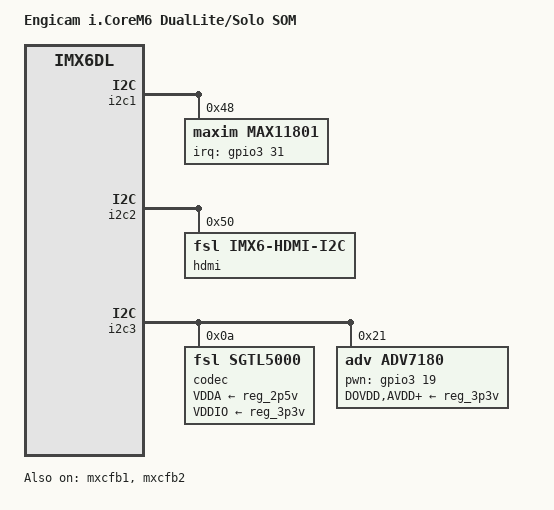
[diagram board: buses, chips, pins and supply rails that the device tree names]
/*
 * Copyright (C) 2013 Freescale Semiconductor, Inc.
 *
 * This program is free software; you can redistribute it and/or modify
 * it under the terms of the GNU General Public License version 2 as
 * published by the Free Software Foundation.
 */

/dts-v1/;

#include "imx6dl.dtsi"
#include "imx6qdl-icore.dtsi"

/ {
	model = "Engicam i.CoreM6 DualLite/Solo SOM";
	compatible = "fsl,imx6-icore", "fsl,imx6dl";
};

&ldb {
	ipu_id = <0>;
	sec_ipu_id = <0>;
};

&mxcfb1 {
	status = "okay";
};

&mxcfb2 {
	status = "okay";
};

&i2c1 {

	max11801@48 {
		compatible = "maxim,max11801";
		reg = <0x48>;
		interrupt-parent = <&gpio3>;
		interrupts = <31 2>;
		work-mode = <0>;/*DCM mode*/
	};

};

&i2c2 {

	hdmi: edid@50 {
		compatible = "fsl,imx6-hdmi-i2c";
		reg = <0x50>;
	};

};


&i2c3 {

	codec: sgtl5000@0a {
		compatible = "fsl,sgtl5000";
		reg = <0x0a>;
		clocks = <&clks 201>;
		VDDA-supply = <&reg_2p5v>;
		VDDIO-supply = <&reg_3p3v>;
	};


	adv7180: adv7180@21 {
		compatible = "adv,adv7180";
		reg = <0x21>;
		pinctrl-names = "default";
		pinctrl-0 = <&pinctrl_ipu1_2>;
		clocks = <&clks 201>;
		clock-names = "csi_mclk";
		DOVDD-supply = <&reg_3p3v>; /* 3.3v, enabled via 2.8 VGEN6 */
		AVDD-supply = <&reg_3p3v>;  /* 1.8v */
		DVDD-supply = <&reg_3p3v>;  /* 1.8v */
		PVDD-supply = <&reg_3p3v>;  /* 1.8v */
		csi_id = <0>;
		mclk = <24000000>;
		mclk_source = <0>;
		cvbs = <1>;
	};
};

&iomuxc {
	pinctrl-names = "default";
	pinctrl-0 = <&pinctrl_hog>;

	hog {
		pinctrl_hog: hoggrp {
			fsl,pins = <
				MX6QDL_PAD_GPIO_2__GPIO1_IO02 0x1f059
			>;
		};
	};
};


&i2c1 {

	max11801@48 {
		compatible = "maxim,max11801";
		reg = <0x48>;
		interrupt-parent = <&gpio3>;
		interrupts = <31 2>;
		work-mode = <0>;/*DCM mode*/
	};

};

&i2c2 {

	hdmi: edid@50 {
		compatible = "fsl,imx6-hdmi-i2c";
		reg = <0x50>;
	};

};


&i2c3 {

	codec: sgtl5000@0a {
		compatible = "fsl,sgtl5000";
		reg = <0x0a>;
		clocks = <&clks 201>;
		VDDA-supply = <&reg_2p5v>;
		VDDIO-supply = <&reg_3p3v>;
	};


	adv7180: adv7180@21 {
		compatible = "adv,adv7180";
		reg = <0x21>;
		pinctrl-names = "default";
		pinctrl-0 = <&pinctrl_ipu1_6>;
		clocks = <&clks 201>;
		clock-names = "csi_mclk";
		DOVDD-supply = <&reg_3p3v>; /* 3.3v, enabled via 2.8 VGEN6 */
		AVDD-supply = <&reg_3p3v>;  /* 1.8v */
		DVDD-supply = <&reg_3p3v>;  /* 1.8v */
		PVDD-supply = <&reg_3p3v>;  /* 1.8v */
		pwn-gpios = <&gpio3 19 0>;  /* put on not used pin */
		csi_id = <0>;
		mclk = <24000000>;
		mclk_source = <0>;
		cvbs = <1>;
	};
};

&iomuxc {

	hog {
		pinctrl_hog: hoggrp {
			fsl,pins = <
				MX6QDL_PAD_GPIO_2__GPIO1_IO02 0x1f059
				MX6QDL_PAD_EIM_D19__GPIO3_IO19 0x1f059 /* not used pin for ADV7180 driver compatibility */
			>;
		};
	};
};

